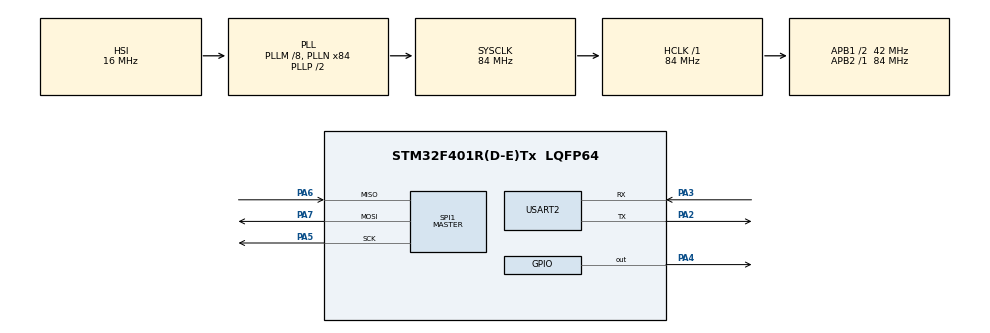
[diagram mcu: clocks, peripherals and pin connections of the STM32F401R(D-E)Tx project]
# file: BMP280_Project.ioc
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Mcu.Family=STM32F4
Mcu.Name=STM32F401R(D-E)Tx
Mcu.Package=LQFP64
NVIC.PriorityGroup=NVIC_PRIORITYGROUP_4
NVIC.SPI1_IRQn=true\:0\:0\:false\:false\:true\:true\:true\:true
NVIC.USART2_IRQn=true\:0\:0\:false\:false\:true\:true\:true\:true
PA2.Mode=Asynchronous
PA2.Signal=USART2_TX
PA3.Mode=Asynchronous
PA3.Signal=USART2_RX
PA4.Signal=GPIO_Output
PA5.Mode=Full_Duplex_Master
PA5.Signal=SPI1_SCK
PA6.Mode=Full_Duplex_Master
PA6.Signal=SPI1_MISO
PA7.Mode=Full_Duplex_Master
PA7.Signal=SPI1_MOSI
ProjectManager.HeapSize=0x200
ProjectManager.StackSize=0x400
ProjectManager.TargetToolchain=STM32CubeIDE
RCC.48MHZClocksFreq_Value=42000000
RCC.AHBFreq_Value=84000000
RCC.APB1CLKDivider=RCC_HCLK_DIV2
RCC.APB1Freq_Value=42000000
RCC.APB1TimFreq_Value=84000000
RCC.APB2Freq_Value=84000000
RCC.APB2TimFreq_Value=84000000
RCC.CortexFreq_Value=84000000
RCC.HCLKFreq_Value=84000000
RCC.HSE_VALUE=25000000
RCC.HSI_VALUE=16000000
RCC.LSE_VALUE=32768
RCC.PLLM=8
RCC.PLLN=84
RCC.SYSCLKFreq_VALUE=84000000
RCC.SYSCLKSource=RCC_SYSCLKSOURCE_PLLCLK
RCC.VCOOutputFreq_Value=168000000
SPI1.BaudRatePrescaler=SPI_BAUDRATEPRESCALER_16
SPI1.Direction=SPI_DIRECTION_2LINES
SPI1.Mode=SPI_MODE_MASTER
SPI1.VirtualType=VM_MASTER
USART2.VirtualMode=VM_ASYNC
board=custom

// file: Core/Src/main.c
/* USER CODE BEGIN Header */
/**
  ******************************************************************************
  * @file           : main.c
  * @brief          : Main program body
  ******************************************************************************
  * @attention
  *
  * Copyright (c) 2026 STMicroelectronics.
  * All rights reserved.
  *
  * This software is licensed under terms that can be found in the LICENSE file
  * in the root directory of this software component.
  * If no LICENSE file comes with this software, it is provided AS-IS.
  *
  ******************************************************************************
  */
/* USER CODE END Header */
#include "main.h"
#include <stdio.h>
#include <string.h>

SPI_HandleTypeDef hspi1;

UART_HandleTypeDef huart2;

void SystemClock_Config(void);
static void MX_GPIO_Init(void);
static void MX_USART2_UART_Init(void);
static void MX_SPI1_Init(void);

int main(void)
{

  /* MCU Configuration--------------------------------------------------------*/

  /* Reset of all peripherals, Initializes the Flash interface and the Systick. */
  HAL_Init();

  /* Configure the system clock */
  SystemClock_Config();

  /* Initialize all configured peripherals */
  MX_GPIO_Init();
  MX_USART2_UART_Init();
  MX_SPI1_Init();
  /* USER CODE BEGIN 2 */

  uint8_t data;
  char msg[60];

  // Read id reg
  uint8_t id_reg_read = 0xD0 | 0x80;
  // Pull CS low
  HAL_GPIO_WritePin(GPIOA, GPIO_PIN_4, GPIO_PIN_RESET);

  HAL_SPI_Transmit(&hspi1, &id_reg_read, 1, HAL_MAX_DELAY);
  HAL_SPI_Receive(&hspi1, &data, 1, HAL_MAX_DELAY);

  // pull CS high
  HAL_GPIO_WritePin(GPIOA, GPIO_PIN_4, GPIO_PIN_SET);

  sprintf(msg,"Register ID: 0x%X \r\n", data);
  HAL_UART_Transmit(&huart2, (uint8_t*)msg, strlen(msg), HAL_MAX_DELAY);

  // reading compensation parameters
  uint8_t param_buff[24];

  //read 0x88
  uint8_t param_data = 0x88 | 0x80;
  HAL_GPIO_WritePin(GPIOA, GPIO_PIN_4, GPIO_PIN_RESET);
  HAL_SPI_Transmit(&hspi1, &param_data, 1, HAL_MAX_DELAY);
  HAL_SPI_Receive(&hspi1,param_buff, 24, HAL_MAX_DELAY);
  HAL_GPIO_WritePin(GPIOA, GPIO_PIN_4, GPIO_PIN_SET);

  typedef struct param_reg{
	  uint16_t dig_T1;
	  int16_t dig_T2;
	  int16_t dig_T3;
	  uint16_t dig_P1;
	  int16_t dig_P2;
	  int16_t dig_P3;
	  int16_t dig_P4;
	  int16_t dig_P5;
	  int16_t dig_P6;
	  int16_t dig_P7;
	  int16_t dig_P8;
	  int16_t dig_P9;
  } BMP280_CalibData;

  BMP280_CalibData calib_data;

  calib_data.dig_T1 = (uint16_t)(param_buff[1] << 8 | param_buff[0]);
  calib_data.dig_T2 = (int16_t)(param_buff[3] << 8 | param_buff[2]);
  calib_data.dig_T3 = (int16_t)(param_buff[5] << 8 | param_buff[4]);
  calib_data.dig_P1 = (uint16_t)(param_buff[7] << 8 | param_buff[6]);
  calib_data.dig_P2 = (int16_t)(param_buff[9] << 8 | param_buff[8]);
  calib_data.dig_P3 = (int16_t)(param_buff[11] << 8 | param_buff[10]);
  calib_data.dig_P4 = (int16_t)(param_buff[13] << 8 | param_buff[12]);
  calib_data.dig_P5 = (int16_t)(param_buff[15] << 8 | param_buff[14]);
  calib_data.dig_P6 = (int16_t)(param_buff[17] << 8 | param_buff[16]);
  calib_data.dig_P7 = (int16_t)(param_buff[19] << 8 | param_buff[18]);
  calib_data.dig_P8 = (int16_t)(param_buff[21] << 8 | param_buff[20]);
  calib_data.dig_P9 = (int16_t)(param_buff[23] << 8 | param_buff[22]);

  char data_msg[50];

  sprintf(data_msg, "Calibration data T1 = %u\r\n",calib_data.dig_T1);
  HAL_UART_Transmit(&huart2, (uint8_t*)data_msg, strlen(data_msg), HAL_MAX_DELAY);

  sprintf(data_msg, "Calibration data T2 = %d\r\n",calib_data.dig_T2);
  HAL_UART_Transmit(&huart2, (uint8_t*)data_msg, strlen(data_msg), HAL_MAX_DELAY);

  sprintf(data_msg, "Calibration data T3 = %d\r\n",calib_data.dig_T3);
  HAL_UART_Transmit(&huart2, (uint8_t*)data_msg, strlen(data_msg), HAL_MAX_DELAY);

  sprintf(data_msg, "Calibration data P1 = %u\r\n",calib_data.dig_P1);
  HAL_UART_Transmit(&huart2, (uint8_t*)data_msg, strlen(data_msg), HAL_MAX_DELAY);

  sprintf(data_msg, "Calibration data P2 = %d\r\n",calib_data.dig_P2);
  HAL_UART_Transmit(&huart2, (uint8_t*)data_msg, strlen(data_msg), HAL_MAX_DELAY);

  sprintf(data_msg, "Calibration data P3 = %d\r\n",calib_data.dig_P3);
  HAL_UART_Transmit(&huart2, (uint8_t*)data_msg, strlen(data_msg), HAL_MAX_DELAY);

  sprintf(data_msg, "Calibration data P4 = %d\r\n",calib_data.dig_P4);
  HAL_UART_Transmit(&huart2, (uint8_t*)data_msg, strlen(data_msg), HAL_MAX_DELAY);

  sprintf(data_msg, "Calibration data P5 = %d\r\n",calib_data.dig_P5);
  HAL_UART_Transmit(&huart2, (uint8_t*)data_msg, strlen(data_msg), HAL_MAX_DELAY);

  sprintf(data_msg, "Calibration data P6 = %d\r\n",calib_data.dig_P6);
  HAL_UART_Transmit(&huart2, (uint8_t*)data_msg, strlen(data_msg), HAL_MAX_DELAY);

  sprintf(data_msg, "Calibration data P7 = %d\r\n",calib_data.dig_P7);
  HAL_UART_Transmit(&huart2, (uint8_t*)data_msg, strlen(data_msg), HAL_MAX_DELAY);

  sprintf(data_msg, "Calibration data P8 = %d\r\n",calib_data.dig_P8);
  HAL_UART_Transmit(&huart2, (uint8_t*)data_msg, strlen(data_msg), HAL_MAX_DELAY);

  sprintf(data_msg, "Calibration data P9 = %d\r\n",calib_data.dig_P9);
  HAL_UART_Transmit(&huart2, (uint8_t*)data_msg, strlen(data_msg), HAL_MAX_DELAY);

// RAW PRESSURE MEASUREMENT

  //write to ctrl meas to enable measurements
  uint8_t ctrl_reg = 0xF4 & 0x7F;
  uint8_t ctrl_reg_setting = 0x27;

  sprintf(msg,"Control Measurement Register: 0x%X \r\n", ctrl_reg);
  HAL_UART_Transmit(&huart2, (uint8_t*)msg, strlen(msg), HAL_MAX_DELAY);

  HAL_GPIO_WritePin(GPIOA, GPIO_PIN_4, GPIO_PIN_RESET);
  HAL_SPI_Transmit(&hspi1, &ctrl_reg, 1, HAL_MAX_DELAY);
  HAL_SPI_Transmit(&hspi1, &ctrl_reg_setting, 1, HAL_MAX_DELAY);
  HAL_GPIO_WritePin(GPIOA, GPIO_PIN_4, GPIO_PIN_SET);

  HAL_Delay(10);

  // read 0xF7 press reg
  uint8_t press_reg = 0xF7 | 0x80;
  uint8_t press_buff[6];
  uint32_t reg_press;
  uint32_t reg_temp;

  HAL_GPIO_WritePin(GPIOA, GPIO_PIN_4, GPIO_PIN_RESET);
  HAL_SPI_Transmit(&hspi1, &press_reg, 1, HAL_MAX_DELAY);
  HAL_SPI_Receive(&hspi1, press_buff, 6, HAL_MAX_DELAY);
  // pull CS high
  HAL_GPIO_WritePin(GPIOA, GPIO_PIN_4, GPIO_PIN_SET);

  // 0xF7 - 0xF9 Press, 0xFA - 0xFC temp
  reg_press = ((uint32_t)press_buff[0] << 12) |
		  	  (uint32_t)(press_buff[1] << 4) |
			  (uint32_t)(press_buff[2] >> 4);

  reg_temp =  (uint32_t)(press_buff[3] << 12) |
		  	  (uint32_t)(press_buff[4] << 4) |
			  (uint32_t)(press_buff[5] >> 4);

  sprintf(data_msg, "Raw Press = %lu, Raw Temp = %lu\r\n", reg_press, reg_temp);
  HAL_UART_Transmit(&huart2, (uint8_t*)data_msg, strlen(data_msg), HAL_MAX_DELAY);

  // Temperature compensation - Returns temp in Deg, T= 0.01. t_fine carries fine temp as global value
  int32_t t_fine;
  int32_t var1, var2, T;
  char comp_value[100];

  var1 = ((((int32_t)reg_temp >> 3) - ((int32_t)calib_data.dig_T1 << 1)) * ((int32_t)calib_data.dig_T2)) >> 11;
  var2 = (((((int32_t)reg_temp >> 4) - ((int32_t)calib_data.dig_T1)) * (((int32_t)reg_temp >> 4) - ((int32_t)calib_data.dig_T1))) >> 12) *  ((int32_t)calib_data.dig_T3) >> 14;

  t_fine = var1 + var2;
  T = (t_fine * 5 + 128) >> 8;
  float temp = T / 100.0f;
  sprintf(comp_value, "Temp = %.2f C\r\n", temp);
  HAL_UART_Transmit(&huart2, (uint8_t*)comp_value, strlen(comp_value), HAL_MAX_DELAY);

// Pressure compensation
  int64_t var1_p, var2_p, p;

  var1_p = ((int64_t)t_fine) - 128000;
  var2_p = var1_p * var1_p * (int64_t)calib_data.dig_P6;
  var2_p = var2_p + ((var1_p * (int64_t)calib_data.dig_P5) << 17);
  var2_p = var2_p + (((int64_t)calib_data.dig_P4) << 35);
  var1_p = ((var1_p * var1_p * (int64_t)calib_data.dig_P3) >> 8) + ((var1_p * (int64_t)calib_data.dig_P2) << 12);
  var1_p = (((((int64_t)1) << 47) + var1_p) * ((int64_t)calib_data.dig_P1)) >> 33;

  if(var1_p == 0){
	  //return zero
  };

  p = 1048576 - reg_press;
  p = (((p << 31) - var2_p) * 3125) / var1_p;
  var1_p = (((int64_t)calib_data.dig_P9) * (p >> 13) * (p >> 13)) >> 25;
  var2_p = (((int64_t)calib_data.dig_P8) * p) >> 19;
  p = ((p + var1_p + var2_p) >> 8) + (((int64_t)calib_data.dig_P7) << 4);

  sprintf(comp_value, "Pressure = %ld\r\n", (long)p/256);
  HAL_UART_Transmit(&huart2, (uint8_t*)comp_value, strlen(comp_value), HAL_MAX_DELAY);

  /* USER CODE END 2 */

  /* Infinite loop */
  while (1)
  {

  }
}

void SystemClock_Config(void)
{
  RCC_OscInitTypeDef RCC_OscInitStruct = {0};
  RCC_ClkInitTypeDef RCC_ClkInitStruct = {0};

  /** Configure the main internal regulator output voltage
  */
  __HAL_RCC_PWR_CLK_ENABLE();
  __HAL_PWR_VOLTAGESCALING_CONFIG(PWR_REGULATOR_VOLTAGE_SCALE2);

  /** Initializes the RCC Oscillators according to the specified parameters
  * in the RCC_OscInitTypeDef structure.
  */
  RCC_OscInitStruct.OscillatorType = RCC_OSCILLATORTYPE_HSI;
  RCC_OscInitStruct.HSIState = RCC_HSI_ON;
  RCC_OscInitStruct.HSICalibrationValue = RCC_HSICALIBRATION_DEFAULT;
  RCC_OscInitStruct.PLL.PLLState = RCC_PLL_ON;
  RCC_OscInitStruct.PLL.PLLSource = RCC_PLLSOURCE_HSI;
  RCC_OscInitStruct.PLL.PLLM = 8;
  RCC_OscInitStruct.PLL.PLLN = 84;
  RCC_OscInitStruct.PLL.PLLP = RCC_PLLP_DIV2;
  RCC_OscInitStruct.PLL.PLLQ = 4;
  if (HAL_RCC_OscConfig(&RCC_OscInitStruct) != HAL_OK)
  {
    Error_Handler();
  }

  /** Initializes the CPU, AHB and APB buses clocks
  */
  RCC_ClkInitStruct.ClockType = RCC_CLOCKTYPE_HCLK|RCC_CLOCKTYPE_SYSCLK
                              |RCC_CLOCKTYPE_PCLK1|RCC_CLOCKTYPE_PCLK2;
  RCC_ClkInitStruct.SYSCLKSource = RCC_SYSCLKSOURCE_PLLCLK;
  RCC_ClkInitStruct.AHBCLKDivider = RCC_SYSCLK_DIV1;
  RCC_ClkInitStruct.APB1CLKDivider = RCC_HCLK_DIV2;
  RCC_ClkInitStruct.APB2CLKDivider = RCC_HCLK_DIV1;

  if (HAL_RCC_ClockConfig(&RCC_ClkInitStruct, FLASH_LATENCY_2) != HAL_OK)
  {
    Error_Handler();
  }
}

static void MX_SPI1_Init(void)
{

  /* SPI1 parameter configuration*/
  hspi1.Instance = SPI1;
  hspi1.Init.Mode = SPI_MODE_MASTER;
  hspi1.Init.Direction = SPI_DIRECTION_2LINES;
  hspi1.Init.DataSize = SPI_DATASIZE_8BIT;
  hspi1.Init.CLKPolarity = SPI_POLARITY_LOW;
  hspi1.Init.CLKPhase = SPI_PHASE_1EDGE;
  hspi1.Init.NSS = SPI_NSS_SOFT;
  hspi1.Init.BaudRatePrescaler = SPI_BAUDRATEPRESCALER_16;
  hspi1.Init.FirstBit = SPI_FIRSTBIT_MSB;
  hspi1.Init.TIMode = SPI_TIMODE_DISABLE;
  hspi1.Init.CRCCalculation = SPI_CRCCALCULATION_DISABLE;
  hspi1.Init.CRCPolynomial = 10;
  if (HAL_SPI_Init(&hspi1) != HAL_OK)
  {
    Error_Handler();
  }

}

static void MX_USART2_UART_Init(void)
{

  huart2.Instance = USART2;
  huart2.Init.BaudRate = 115200;
  huart2.Init.WordLength = UART_WORDLENGTH_8B;
  huart2.Init.StopBits = UART_STOPBITS_1;
  huart2.Init.Parity = UART_PARITY_NONE;
  huart2.Init.Mode = UART_MODE_TX_RX;
  huart2.Init.HwFlowCtl = UART_HWCONTROL_NONE;
  huart2.Init.OverSampling = UART_OVERSAMPLING_16;
  if (HAL_UART_Init(&huart2) != HAL_OK)
  {
    Error_Handler();
  }

}

static void MX_GPIO_Init(void)
{
  GPIO_InitTypeDef GPIO_InitStruct = {0};

  /* GPIO Ports Clock Enable */
  __HAL_RCC_GPIOA_CLK_ENABLE();

  /*Configure GPIO pin Output Level */
  HAL_GPIO_WritePin(GPIOA, GPIO_PIN_4, GPIO_PIN_RESET);

  /*Configure GPIO pin : PA4 */
  GPIO_InitStruct.Pin = GPIO_PIN_4;
  GPIO_InitStruct.Mode = GPIO_MODE_OUTPUT_PP;
  GPIO_InitStruct.Pull = GPIO_NOPULL;
  GPIO_InitStruct.Speed = GPIO_SPEED_FREQ_LOW;
  HAL_GPIO_Init(GPIOA, &GPIO_InitStruct);

}

void Error_Handler(void)
{
  __disable_irq();
  while (1)
  {
  }
}
